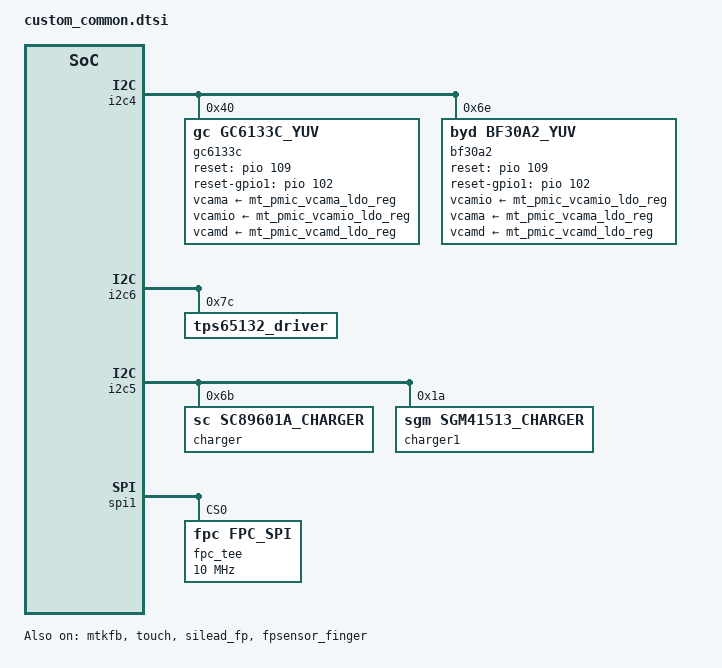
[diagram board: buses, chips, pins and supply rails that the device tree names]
/*
 * Copyright (c) 2019 MediaTek Inc.
 *
 * This program is free software; you can redistribute it and/or modify
 * it under the terms of the GNU General Public License version 2 as
 * published by the Free Software Foundation.
 *
 * This program is distributed in the hope that it will be useful,
 * but WITHOUT ANY WARRANTY; without even the implied warranty of
 * MERCHANTABILITY or FITNESS FOR A PARTICULAR PURPOSE.  See the
 * GNU General Public License for more details.
 */
/* chosen */
&chosen {
	atag,videolfb-lcmname= "nt36525b_vdo_hdp_boe_xinli";
};

&pio{
		mtkfb_pins_lcd_bias_enp0: lcd_bias_enp0_gpio {
				pins_cmd_dat {
						pinmux = <PINMUX_GPIO168__FUNC_GPIO168>;
						slew-rate = <1>;
						output-low;
				};
		};

		mtkfb_pins_lcd_bias_enp1: lcd_bias_enp1_gpio {
				pins_cmd_dat {
						pinmux = <PINMUX_GPIO168__FUNC_GPIO168>;
						slew-rate = <1>;
						output-high;
				};
		};

		mtkfb_pins_lcd_bias_enn0: lcd_bias_enn0_gpio {
				pins_cmd_dat {
						pinmux = <PINMUX_GPIO173__FUNC_GPIO173>;
						slew-rate = <1>;
						output-low;
				};
		};

		mtkfb_pins_lcd_bias_enn1: lcd_bias_enn1_gpio {
				pins_cmd_dat {
						pinmux = <PINMUX_GPIO173__FUNC_GPIO173>;
						slew-rate = <1>;
						output-high;
				};
		};
		mtkfb_pins_lcd_bl_out0: lcd_bl_out0_gpio {
				pins_cmd_dat {
						pinmux = <PINMUX_GPIO154__FUNC_GPIO154>;
						slew-rate = <1>;
						output-low;
				};
		};

		mtkfb_pins_lcd_bl_out1: lcd_bl_out1_gpio {
				pins_cmd_dat {
						pinmux = <PINMUX_GPIO154__FUNC_GPIO154>;
						slew-rate = <1>;
						output-high;
				};
		};

		mtkfb_pins_lcd_ldo18_out0: lcd_ldo18_out0_gpio {
				pins_cmd_dat {
						pinmux = <PINMUX_GPIO178__FUNC_GPIO178>;
						slew-rate = <1>;
						output-low;
				};
		};

		mtkfb_pins_lcd_ldo18_out1: lcd_ldo18_out1_gpio {
				pins_cmd_dat {
						pinmux = <PINMUX_GPIO178__FUNC_GPIO178>;
						slew-rate = <1>;
						output-high;
				};
		};

		mtkfb_pins_lcm_rst_out0: lcm_rst_out0_gpio {
				pins_cmd_dat {
						pinmux = <PINMUX_GPIO45__FUNC_GPIO45>;
						slew-rate = <1>;
						output-low;
				};
		};

		mtkfb_pins_lcm_rst_out1: lcm_rst_out1_gpio {
				pins_cmd_dat {
						pinmux = <PINMUX_GPIO45__FUNC_GPIO45>;
						slew-rate = <1>;
						output-high;
				};
		};

		mtkfb_pins_tp_rst_out0: tp_rst_out0_gpio {
				pins_cmd_dat {
						pinmux = <PINMUX_GPIO174__FUNC_GPIO174>;
						slew-rate = <1>;
						output-low;
				};
		};

		mtkfb_pins_tp_rst_out1: tp_rst_out1_gpio {
				pins_cmd_dat {
						pinmux = <PINMUX_GPIO174__FUNC_GPIO174>;
						slew-rate = <1>;
						output-high;
				};
		};

		mtkfb_pins_default: dispdefault {
		};
};

&mtkfb{
	pinctrl-names = "dispdefault","lcd_bias_enp0_gpio","lcd_bias_enp1_gpio",
			"lcd_bias_enn0_gpio","lcd_bias_enn1_gpio",
			"lcd_bl_out0_gpio","lcd_bl_out1_gpio",
			"lcd_ldo18_out0_gpio","lcd_ldo18_out1_gpio",
			"lcm_rst_out0_gpio","lcm_rst_out1_gpio",
			"tp_rst_out0_gpio","tp_rst_out1_gpio";
	pinctrl-0 = <&mtkfb_pins_default>;
	pinctrl-1 = <&mtkfb_pins_lcd_bias_enp0>;
	pinctrl-2 = <&mtkfb_pins_lcd_bias_enp1>;
	pinctrl-3 = <&mtkfb_pins_lcd_bias_enn0>;
	pinctrl-4 = <&mtkfb_pins_lcd_bias_enn1>;
	pinctrl-5 = <&mtkfb_pins_lcd_bl_out0>;
	pinctrl-6 = <&mtkfb_pins_lcd_bl_out1>;
	pinctrl-7 = <&mtkfb_pins_lcd_ldo18_out0>;
	pinctrl-8 = <&mtkfb_pins_lcd_ldo18_out1>;
	pinctrl-9 = <&mtkfb_pins_lcm_rst_out0>;
	pinctrl-10 = <&mtkfb_pins_lcm_rst_out1>;
	pinctrl-11 = <&mtkfb_pins_tp_rst_out0>;
	pinctrl-12 = <&mtkfb_pins_tp_rst_out1>;
	status = "okay";
};
/*QVGA's begining add by liuzhaosong@longcheer.com*/
&pio{
        camera_pins_gc6133c_mclk_on: camera_pins_gc6133c_mclk_on {
                pins_cmd_dat {
                        pinmux = <PINMUX_GPIO108__FUNC_CMMCLK2>;
                };
        };
        camera_pins_gc6133c_mclk_off: camera_pins_gc6133c_mclk_off {
                pins_cmd_dat {
                        pinmux = <PINMUX_GPIO108__FUNC_GPIO108>;
                };
        };
};
&pio{
        camera_pins_bf30a2_mclk_on: camera_pins_bf30a2_mclk_on {
                pins_cmd_dat {
                        pinmux = <PINMUX_GPIO108__FUNC_CMMCLK2>;
                };
        };
        camera_pins_bf30a2_mclk_off: camera_pins_bf30a2_mclk_off {
                pins_cmd_dat {
                        pinmux = <PINMUX_GPIO108__FUNC_GPIO108>;
                };
        };
};
&i2c4 {
        gc6133c@40 {
        compatible = "gc,gc6133c_yuv";
        reg = <0x40>;
        reset-gpio = <&pio 109 0x0>;
        reset-gpio1 = <&pio 102 0x0>;
        pinctrl-names = "gc6133c_mclk_on",
                        "gc6133c_mclk_off";
        pinctrl-0 = <&camera_pins_gc6133c_mclk_on>;
        pinctrl-1 = <&camera_pins_gc6133c_mclk_off>;
        vcama-supply = <&mt_pmic_vcama_ldo_reg>;
        vcamio-supply = <&mt_pmic_vcamio_ldo_reg>;
        vcamd-supply = <&mt_pmic_vcamd_ldo_reg>;
        status = "okay";
      };
        bf30a2@6e {
        compatible = "byd,bf30a2_yuv";
        reg = <0x6e>;
        reset-gpio = <&pio 109 0x0>;
		reset-gpio1 = <&pio 102 0x0>;
        pinctrl-names = "bf30a2_mclk_on",
                        "bf30a2_mclk_off";
        pinctrl-0 = <&camera_pins_bf30a2_mclk_on>;
        pinctrl-1 = <&camera_pins_bf30a2_mclk_off>;
        vcamio-supply = <&mt_pmic_vcamio_ldo_reg>;
        vcama-supply = <&mt_pmic_vcama_ldo_reg>;
        vcamd-supply = <&mt_pmic_vcamd_ldo_reg>;
        status = "okay";
      };
};
/*QVGA's ending add by liuzhaosong@longcheer.com*/
&i2c6 {
	tps65132_driver@7C {
		compatibel = "mediatek,I2C_LCD_BIAS";
		reg = <0x7C>;
	};
};

/*charger start*/
/* 2022.5.18 longcheer zhangfeng5 edit. begin */
/* kenrel driver porting: remove eta6963 charger */
&i2c5 {
	status = "okay";
	charger@6B {
		compatible = "sc,sc89601a_charger";
		reg = <0x6B>;
		sc,sc89601a,usb-vlim = <4600>;
		sc,sc89601a,usb-ilim = <500>;
		sc,sc89601a,usb-vreg = <4400>;
		sc,sc89601a,usb-ichg = <500>;
		sc,sc89601a,precharge-current = <180>;
		sc,sc89601a,termination-current = <240>;
		sc,sc89601a,boost-voltage = <5150>;
		sc,sc89601a,boost-current = <1200>;
		sc,sc89601a,enable_term;
		sc,sc89601a,stat-pin-ctrl = <3>;
		sc,sc89601a,vac-ovp-threshold = <6500>;
	};
	charger1@1A {
		compatible = "sgm,sgm41513_charger";
		reg = <0x1A>;
		sgm,sgm41513,usb-vlim = <4600>;
		sgm,sgm41513,usb-ilim = <500>;
		sgm,sgm41513,usb-vreg = <4400>;
		sgm,sgm41513,usb-ichg = <500>;
		sgm,sgm41513,precharge-current = <180>;
		sgm,sgm41513,termination-current = <240>;
		sgm,sgm41513,boost-voltage = <5150>;
		sgm,sgm41513,boost-current = <1200>;
		sgm,sgm41513,enable_term;
		sgm,sgm41513,stat-pin-ctrl = <3>;
		sgm,sgm41513,vac-ovp-threshold = <6500>;
	};
};
/* 2022.5.18 longcheer zhangfeng5 edit. end */
/*charger end*/

/* touch start*/
&touch {
	tpd-resolution = <719 1599>;
	use-tpd-button = <0>;
	tpd-key-num = <3>;
	tpd-key-local= <139 172 158 0>;
	tpd-key-dim-local = <90 883 100 40 230
		883 100 40 370 883 100 40 0 0 0 0>;

	interrupt-parent = <&pio>;
	interrupts = <0 IRQ_TYPE_EDGE_FALLING 0 0>;
	tpd-max-touch-num = <10>;
	tpd-filter-enable = <0>;
	tpd-filter-pixel-density = <146>;
	tpd-filter-custom-prameters = <0 0 0 0 0 0 0 0 0 0 0 0>;
	tpd-filter-custom-speed = <0 0 0>;
	pinctrl-names = "default", "state_eint_as_int", "state_eint_output0",
		"state_eint_output1", "state_rst_output0", "state_rst_output1",
		"state_spi_cs_out0","state_spi_cs_out1";
	pinctrl-0 = <&ctp_pins_default>;
	pinctrl-1 = <&ctp_pins_eint_as_int>;
	pinctrl-2 = <&ctp_pins_eint_output0>;
	pinctrl-3 = <&ctp_pins_eint_output1>;
	pinctrl-4 = <&ctp_pins_rst_output0>;
	pinctrl-5 = <&ctp_pins_rst_output1>;
	pinctrl-6 = <&ctp_pins_spi_cs_output0>;
	pinctrl-7 = <&ctp_pins_spi_cs_output1>;
	status = "okay";

};

&pio {
	ctp_pins_default: eint0default {
	};
	ctp_pins_eint_as_int: eint@0 {
		pins_cmd_dat {
		pinmux = <PINMUX_GPIO0__FUNC_GPIO0>;
		slew-rate = <0>;
		bias-disable;

		};

	};
	ctp_pins_eint_output0: eintoutput0 {
		pins_cmd_dat {
			pinmux = <PINMUX_GPIO0__FUNC_GPIO0>;
			slew-rate = <1>;
			output-low;

		};

	};
	ctp_pins_eint_output1: eintoutput1 {
		pins_cmd_dat {
		pinmux = <PINMUX_GPIO0__FUNC_GPIO0>;
		slew-rate = <1>;
		output-high;

		};

	};
	ctp_pins_rst_output0: rstoutput0 {
		pins_cmd_dat {
		pinmux = <PINMUX_GPIO174__FUNC_GPIO174>;
		slew-rate = <1>;
		output-low;

		};

	};

	ctp_pins_rst_output1: rstoutput1 {
		pins_cmd_dat {
		pinmux = <PINMUX_GPIO174__FUNC_GPIO174>;
		slew-rate = <1>;
		output-high;

		};

	};
	ctp_pins_spi_cs_output0: spi_cs_out0_gpio {
		pins_cmd_dat {
		pinmux = <PINMUX_GPIO22__FUNC_GPIO22>;
		slew-rate = <1>;
		output-low;

		};

	};
	ctp_pins_spi_cs_output1: spi_cs_out1_gpio {
		pins_cmd_dat {
		pinmux = <PINMUX_GPIO22__FUNC_SPI3_CSB>;
		slew-rate = <1>;

		};

	};
};
/* touch end */
/* FINGERPRINT start */
&spi1 {
	#address-cells = <1>;
	#size-cells = <0>;
	status = "okay";

	fpc_tee@0 {
		compatible = "fpc,fpc_spi";
		reg = <0>;
		fpc,enable-wakeup;
		spi-max-frequency = <10000000>;
		netlink-event = <31>;
		status = "okay";
	};

};

&silead_fp {
	pinctrl-names = "default", "rst-low", "rst-high" ,
	                "irq-init", "spi-default", "irq_rst-low", "irq_rst-high", "avdd-enable";
	pinctrl-0 = <&silfp_default>;
	pinctrl-1 = <&silfp_rst_low>;
	pinctrl-2 = <&silfp_rst_high>;
	pinctrl-3 = <&silfp_irq>;
	pinctrl-4 = <&fingerprint_pins_default>;
	pinctrl-5 = <&silfp_irq_rst_low>;
	pinctrl-6 = <&silfp_irq_rst_high>;
	pinctrl-7 = <&silfp_avdd_high>;
	status = "okay";
};

&pio {
	fingerprint_pins_default: fp_default {
		pins_cmd_dat {
			pinmux = <PINMUX_GPIO26__FUNC_SPI1_A_CSB>;
			slew-rate = <1>;
			bias-pull-up;
		};

		pins_cmd2_dat {
			pinmux = <PINMUX_GPIO28__FUNC_SPI1_A_CLK>;
			slew-rate = <1>;
			bias-pull-down;
		};

		pins_cmd3_dat {
			pinmux = <PINMUX_GPIO25__FUNC_SPI1_A_MI>;
			slew-rate = <0>;
			bias-pull-down;
		};

		pins_cmd4_dat {
			pinmux = <PINMUX_GPIO27__FUNC_SPI1_A_MO>;
			slew-rate = <1>;
			bias-pull-down;
		};
	};
};

&pio {
	silfp_default: silfpdefault {
	};

	silfp_rst_high: state_reset_high {
		pins_cmd_dat {
			pinmux = <PINMUX_GPIO167__FUNC_GPIO167>;
			slew-rate = <1>;
			output-high;
		};
	};

	silfp_rst_low: state_reset_low {
		pins_cmd_dat {
			pinmux = <PINMUX_GPIO167__FUNC_GPIO167>;
			slew-rate = <1>;
			output-low;
		};
	};

	silfp_avdd_high: state_avdd_high {
		pins_cmd_dat {
			pinmux = <PINMUX_GPIO169__FUNC_GPIO169>;
			slew-rate = <1>;
			output-high;
		};
	};
	
    silfp_irq_rst_high: state_irq_to_reset_high {
        pins_cmd_dat {
            pinmux = <PINMUX_GPIO3__FUNC_GPIO3>;
            slew-rate = <1>;
            output-high;
        };
    };

    silfp_irq_rst_low: state_irq_to_reset_low {
        pins_cmd_dat {
            pinmux = <PINMUX_GPIO3__FUNC_GPIO3>;
            slew-rate = <1>;
            output-low;
        };
    };

	silfp_irq: fp_eint@3 {
		pins_cmd_dat {
			pinmux = <PINMUX_GPIO3__FUNC_GPIO3>;
			slew-rate = <0>;
			bias-pull-down = <00>;
		};
	};
};

&fpsensor_finger {
	pinctrl-names =  "fpsensor_fpc_rst_low", "fpsensor_fpc_rst_high" , "fpsensor_fp_power_high";
	pinctrl-0 = <&fpsensor_fpc_rst_low>;
	pinctrl-1 = <&fpsensor_fpc_rst_high>;
	pinctrl-2 = <&fpsensor_fp_power_high>;
	status = "okay";
};

&pio {
	fpsensor_fpc_rst_low: fpsensor_fpc_rst_low {
		pins_cmd_dat {
			pinmux = <PINMUX_GPIO167__FUNC_GPIO167>;
			slew-rate = <1>;
			output-low;
		};
	};

	fpsensor_fpc_rst_high: fpsensor_fpc_rst_high {
		pins_cmd_dat {
			pinmux = <PINMUX_GPIO167__FUNC_GPIO167>;
			slew-rate = <1>;
			output-high;
		};
	};

	fpsensor_fp_power_high: fpsensor_fp_power_high {
		pins_cmd_dat {
			pinmux = <PINMUX_GPIO169__FUNC_GPIO169>;
			slew-rate = <1>;
			output-high;
		};
	};
};
/* FINGERPRINT end */
#include "cust_aw87xxx_audio.dtsi"
#include "cust_fs1599_audio.dtsi"
#include "touchscreen.dtsi"
/*End of this file, DO NOT ADD ANYTHING HERE*/

